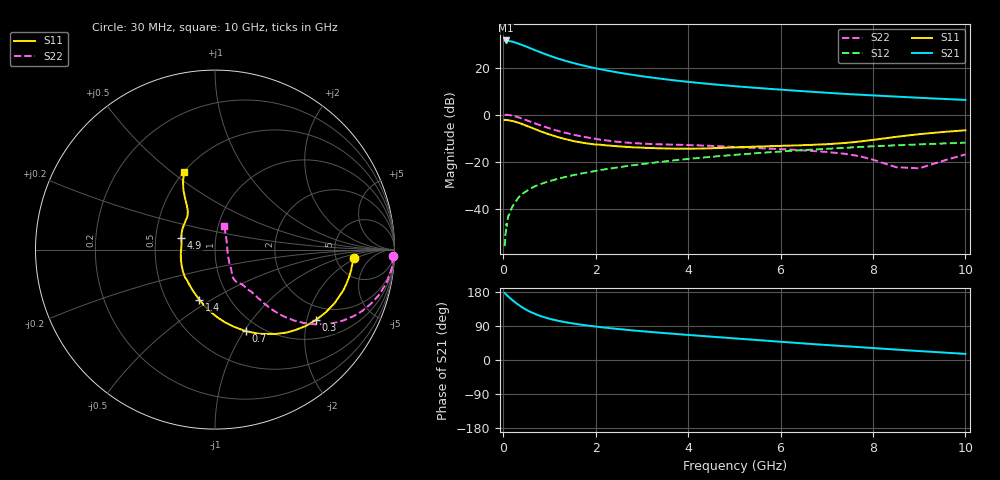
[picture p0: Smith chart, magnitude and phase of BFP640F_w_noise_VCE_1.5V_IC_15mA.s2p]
! Infineon Technologies  Discrete & RF Semiconductors
! BFP640F
! VCE =  1.5 V,  IC =  15 mA
! Common Emitter S-Parameters:  Apr 2013
# GHz  S  MA  R  50
!  f  S11  S21  S12  S22
! GHz  MAG  ANG  MAG  ANG  MAG  ANG  MAG  ANG
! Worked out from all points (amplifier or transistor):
!   99 points, 30 MHz to 10 GHz, reference 50 ohm
!   highest |S21| = 31.5 dB at 50 MHz (marker M1)
!   |S21| within 3 dB of that: start of sweep to 548.4 MHz
!   unconditionally stable (mu >= 1): 2.594 GHz to end of sweep
!   at 350 MHz: K = 0.28, MSG = 32.4 dB, |S12| = -34.8 dB
!   at 3.5 GHz: K = 1.04, MAG = 16.2 dB, |S12| = -19.9 dB
!   at 10 GHz: K = 1.05, MAG = 7.7 dB, |S12| = -11.9 dB
!   lowest NFmin = 0.74 dB at 450 MHz
!   S11 on the Smith chart (normalised r, x): 30 MHz: 7.39, -1.79; 300 MHz: 1.53, -2.26; 700 MHz: 0.86, -1.02; 1.4 GHz: 0.73, -0.44; 4.9 GHz: 0.68, +0.09; 10 GHz: 0.50, +0.55
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0.03  0.7735 -3.6  37.08 176.7  0.0016 100.0  0.9924 -2.1
0.05  0.7695 -6.1  37.54 174.5  0.003 97.4  0.9917 -3.7
0.12  0.7557 -14.8  36.69 166.4  0.0071 87.0  0.9781 -9.7
0.2  0.7299 -24.2  35.24 157.9  0.0112 77.4  0.9457 -15.8
0.3  0.685 -35.0  32.91 148.3  0.0157 76.3  0.8891 -22.6
0.4  0.6333 -45.1  30.35 139.8  0.0203 72.3  0.8237 -28.3
0.5  0.5797 -54.1  27.8 132.5  0.0236 69.9  0.7607 -32.9
0.6  0.5305 -62.2  25.34 126.3  0.0273 67.8  0.6988 -36.6
0.7  0.4858 -69.3  23.09 121.0  0.0304 66.3  0.6434 -39.5
0.8  0.4434 -76.1  21.15 116.3  0.0332 65.2  0.5934 -41.8
1  0.3784 -87.8  17.86 108.9  0.0386 63.8  0.5106 -45.0
1.2  0.3288 -98.0  15.33 103.2  0.0437 63.1  0.4465 -46.8
1.4  0.2922 -107.5  13.39 98.6  0.0486 62.8  0.398 -47.8
1.7  0.254 -120.6  11.22 92.9  0.0561 62.1  0.3432 -48.5
2.1  0.2288 -136.4  9.203 86.8  0.066 61.5  0.2929 -50.3
2.5  0.2113 -149.5  7.785 81.6  0.076 60.4  0.2631 -51.2
3.4  0.1921 -172.9  5.789 71.9  0.099 57.5  0.2331 -54.0
4.9  0.1988 160.4  4.095 58.0  0.1367 50.9  0.2069 -57.0
5.1  0.2022 157.5  3.945 56.2  0.1417 49.9  0.203 -57.3
6.7  0.2277 136.4  3.039 42.0  0.1806 41.3  0.1683 -55.9
8.5  0.3362 120.0  2.409 27.5  0.2225 31.0  0.0762 -20.7
10  0.4635 111.7  2.049 16.1  0.2531 22.4  0.1426 70.0
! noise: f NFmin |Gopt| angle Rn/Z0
0.45  0.74  0.06  6  0.05
0.9  0.75  0.06  19  0.06
1.5  0.76  0.05  35  0.07
1.9  0.77  0.05  51  0.07
2.4  0.79  0.04  76  0.08
3.5  0.88  0.05  131  0.09
5.5  1.07  0.14  -142  0.12
10  1.56  0.4  -93  0.36
